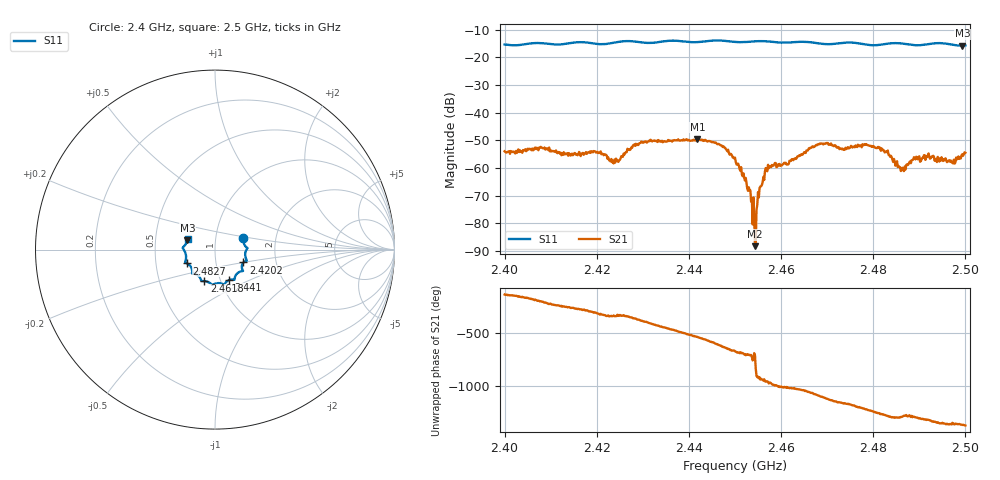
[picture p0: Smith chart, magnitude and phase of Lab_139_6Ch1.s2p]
# Hz S RI R 50
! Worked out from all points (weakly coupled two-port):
!   601 points, 2.4 GHz to 2.5 GHz, reference 50 ohm
!   highest |S21| = -49.52 dB at 2.4418 GHz (marker M1); lowest = -88.3 dB at 2.4543 GHz (marker M2)
!   lowest |S11| = -15.8 dB at 2.4993 GHz (marker M3), VSWR 1.39, Z = 36.5 + j3.83 ohm
!   |S11| at or under -10 dB: start of sweep to end of sweep
!   S12 and S22 are empty: the file has one direction only
!   S11 on the Smith chart (normalised r, x): 2.4 GHz: 1.36, +0.18; 2.4202 GHz: 1.36, -0.20; 2.441 GHz: 1.10, -0.39; 2.4618 GHz: 0.84, -0.30; 2.4827 GHz: 0.72, -0.11; 2.5 GHz: 0.73, +0.09
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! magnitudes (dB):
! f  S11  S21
! 2.4 GHz  -15.4  -54.0
! 2.4167 GHz  -14.5  -55.0
! 2.4202 GHz  -15.2  -54.1
! 2.4242 GHz  -14.6  -56.6
! 2.4283 GHz  -14.3  -52.0
! 2.4333 GHz  -14.5  -49.9
! 2.441 GHz  -14.6  -49.8
! 2.4418 GHz  -14.5  -49.5
! 2.447 GHz  -14.0  -51.9
! 2.45 GHz  -14.4  -56.3
! 2.4528 GHz  -14.4  -68.3
! 2.4543 GHz  -14.2  -88.3
! 2.457 GHz  -14.2  -61.2
! 2.4618 GHz  -14.6  -57.4
! 2.4667 GHz  -14.6  -52.6
! 2.4827 GHz  -15.2  -54.1
! 2.4833 GHz  -15.0  -55.3
! 2.4865 GHz  -15.1  -60.9
! 2.4893 GHz  -15.7  -55.9
! 2.4973 GHz  -15.5  -58.4
! 2.4993 GHz  -15.8  -55.1
! 2.5 GHz  -15.7  -54.5
